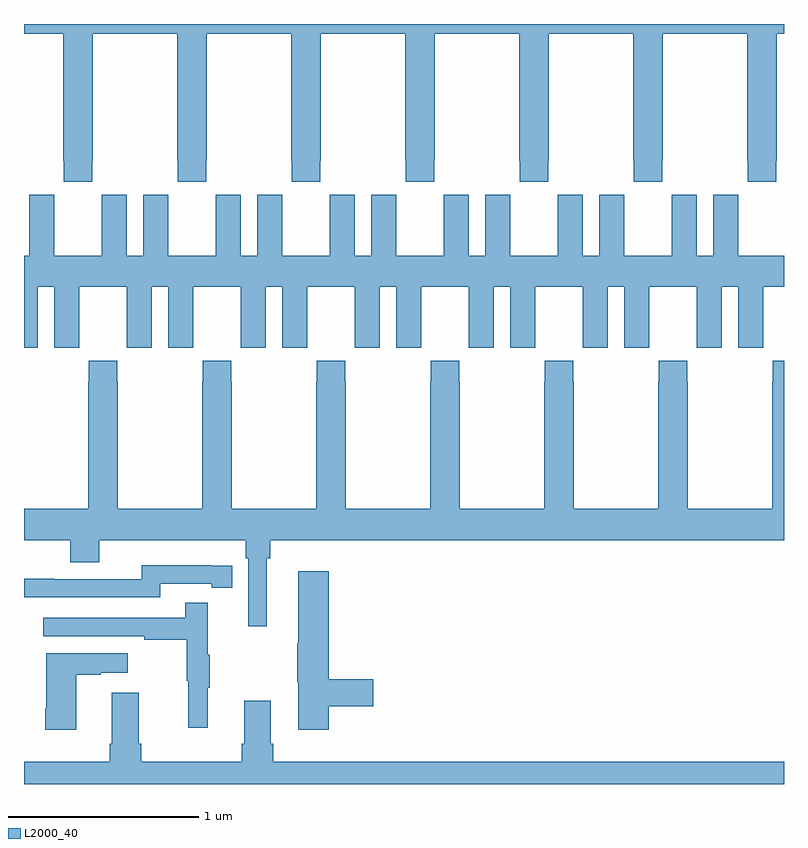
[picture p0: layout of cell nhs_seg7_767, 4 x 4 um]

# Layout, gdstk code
import gdstk
lib = gdstk.Library(unit=1e-6, precision=1e-09)
def P(c, l, *ps):  # polygons
    for p in ps: c.add(gdstk.Polygon(p, *l))
L2000_40 = (2000, 40)

nhs_seg7_767 = lib.new_cell('nhs_seg7_767')
P(nhs_seg7_767, L2000_40, [(169.359,1001.281),(169.362,1001.281),(169.362,1001.948),(169.807,1001.948),(169.807,1001.281),(169.809,1001.281),(169.809,1001.169),(169.959,1001.169),(169.959,1001.281),(169.962,1001.281),(169.962,1001.948),(170.407,1001.948),(170.407,1001.281),(170.409,1001.281),(170.409,1001.169),(170.559,1001.169),(170.559,1001.281),(170.562,1001.281),(170.562,1001.948),(171.007,1001.948),(171.007,1001.281),(171.009,1001.281),(171.009,1001.169),(171.159,1001.169),(171.159,1001.281),(171.162,1001.281),(171.162,1001.948),(171.607,1001.948),(171.607,1001.281),(171.609,1001.281),(171.609,1001.169),(171.759,1001.169),(171.759,1001.281),(171.762,1001.281),(171.762,1001.948),(172.207,1001.948),(172.207,1001.281),(172.209,1001.281),(172.209,1001.169),(172.359,1001.169),(172.359,1001.281),(172.362,1001.281),(172.362,1001.948),(172.807,1001.948),(172.807,1001.281),(172.809,1001.281),(172.809,1001.169),(172.959,1001.169),(172.959,1001.281),(172.962,1001.281),(172.962,1001.948),(173,1001.948),(173,1002),(169,1002),(169,1001.948),(169.207,1001.948),(169.207,1001.281),(169.209,1001.281),(169.209,1001.169),(169.359,1001.169)],
  [(169.759,1000.988),(169.758,1000.988),(169.758,1001.101),(169.628,1001.101),(169.628,1000.78),(169.54,1000.78),(169.54,1001.101),(169.41,1001.101),(169.41,1000.988),(169.409,1000.988),(169.409,1000.78),(169.159,1000.78),(169.159,1000.988),(169.158,1000.988),(169.158,1001.101),(169.028,1001.101),(169.028,1000.78),(169,1000.78),(169,1000.296),(169.072,1000.296),(169.072,1000.616),(169.16,1000.616),(169.16,1000.296),(169.29,1000.296),(169.29,1000.408),(169.291,1000.408),(169.291,1000.616),(169.541,1000.616),(169.541,1000.408),(169.542,1000.408),(169.542,1000.296),(169.672,1000.296),(169.672,1000.616),(169.76,1000.616),(169.76,1000.296),(169.89,1000.296),(169.89,1000.408),(169.891,1000.408),(169.891,1000.616),(170.141,1000.616),(170.141,1000.408),(170.142,1000.408),(170.142,1000.296),(170.272,1000.296),(170.272,1000.616),(170.36,1000.616),(170.36,1000.296),(170.49,1000.296),(170.49,1000.408),(170.491,1000.408),(170.491,1000.616),(170.741,1000.616),(170.741,1000.408),(170.742,1000.408),(170.742,1000.296),(170.872,1000.296),(170.872,1000.616),(170.96,1000.616),(170.96,1000.296),(171.09,1000.296),(171.09,1000.408),(171.091,1000.408),(171.091,1000.616),(171.341,1000.616),(171.341,1000.408),(171.342,1000.408),(171.342,1000.296),(171.472,1000.296),(171.472,1000.616),(171.56,1000.616),(171.56,1000.296),(171.69,1000.296),(171.69,1000.408),(171.691,1000.408),(171.691,1000.616),(171.941,1000.616),(171.941,1000.408),(171.942,1000.408),(171.942,1000.296),(172.072,1000.296),(172.072,1000.616),(172.16,1000.616),(172.16,1000.296),(172.29,1000.296),(172.29,1000.408),(172.291,1000.408),(172.291,1000.616),(172.541,1000.616),(172.541,1000.408),(172.542,1000.408),(172.542,1000.296),(172.672,1000.296),(172.672,1000.616),(172.76,1000.616),(172.76,1000.296),(172.89,1000.296),(172.89,1000.408),(172.891,1000.408),(172.891,1000.616),(173,1000.616),(173,1000.78),(172.759,1000.78),(172.759,1000.988),(172.758,1000.988),(172.758,1001.101),(172.628,1001.101),(172.628,1000.78),(172.54,1000.78),(172.54,1001.101),(172.41,1001.101),(172.41,1000.988),(172.409,1000.988),(172.409,1000.78),(172.159,1000.78),(172.159,1000.988),(172.158,1000.988),(172.158,1001.101),(172.028,1001.101),(172.028,1000.78),(171.94,1000.78),(171.94,1001.101),(171.81,1001.101),(171.81,1000.988),(171.809,1000.988),(171.809,1000.78),(171.559,1000.78),(171.559,1000.988),(171.558,1000.988),(171.558,1001.101),(171.428,1001.101),(171.428,1000.78),(171.34,1000.78),(171.34,1001.101),(171.21,1001.101),(171.21,1000.988),(171.209,1000.988),(171.209,1000.78),(170.959,1000.78),(170.959,1000.988),(170.958,1000.988),(170.958,1001.101),(170.828,1001.101),(170.828,1000.78),(170.74,1000.78),(170.74,1001.101),(170.61,1001.101),(170.61,1000.988),(170.609,1000.988),(170.609,1000.78),(170.359,1000.78),(170.359,1000.988),(170.358,1000.988),(170.358,1001.101),(170.228,1001.101),(170.228,1000.78),(170.14,1000.78),(170.14,1001.101),(170.01,1001.101),(170.01,1000.988),(170.009,1000.988),(170.009,1000.78),(169.759,1000.78)],
  [(170.278,999.188),(170.297,999.188),(170.297,999.284),(173,999.284),(173,1000.228),(172.941,1000.228),(172.941,1000.115),(172.939,1000.115),(172.939,999.448),(172.494,999.448),(172.494,1000.115),(172.491,1000.115),(172.491,1000.228),(172.341,1000.228),(172.341,1000.115),(172.339,1000.115),(172.339,999.448),(171.894,999.448),(171.894,1000.115),(171.891,1000.115),(171.891,1000.228),(171.741,1000.228),(171.741,1000.115),(171.739,1000.115),(171.739,999.448),(171.294,999.448),(171.294,1000.115),(171.291,1000.115),(171.291,1000.228),(171.141,1000.228),(171.141,1000.115),(171.139,1000.115),(171.139,999.448),(170.694,999.448),(170.694,1000.115),(170.691,1000.115),(170.691,1000.228),(170.541,1000.228),(170.541,1000.115),(170.539,1000.115),(170.539,999.448),(170.094,999.448),(170.094,1000.115),(170.091,1000.115),(170.091,1000.228),(169.941,1000.228),(169.941,1000.115),(169.939,1000.115),(169.939,999.448),(169.494,999.448),(169.494,1000.115),(169.491,1000.115),(169.491,1000.228),(169.341,1000.228),(169.341,1000.115),(169.339,1000.115),(169.339,999.448),(169,999.448),(169,999.284),(169.244,999.284),(169.244,999.167),(169.396,999.167),(169.396,999.284),(170.168,999.284),(170.168,999.188),(170.181,999.188),(170.181,998.829),(170.278,998.829)],
  [(169.716,999.054),(169.988,999.054),(169.988,999.034),(170.096,999.034),(170.096,999.15),(169.988,999.15),(169.988,999.151),(169.62,999.151),(169.62,999.078),(169.16,999.078),(169.16,999.08),(169,999.08),(169,998.982),(169.716,998.982)],
  [(170.603,998.41),(170.839,998.41),(170.839,998.552),(170.603,998.552),(170.603,999.121),(170.444,999.121),(170.444,998.741),(170.437,998.741),(170.437,998.535),(170.444,998.535),(170.444,998.286),(170.603,998.286)],
  [(169.967,998.507),(169.978,998.507),(169.978,998.681),(169.967,998.681),(169.967,998.953),(169.849,998.953),(169.849,998.874),(169.101,998.874),(169.101,998.778),(169.633,998.778),(169.633,998.758),(169.857,998.758),(169.857,998.544),(169.864,998.544),(169.864,998.295),(169.967,998.295)],
  [(169.276,998.575),(169.403,998.575),(169.403,998.585),(169.546,998.585),(169.546,998.689),(169.118,998.689),(169.118,998.398),(169.111,998.398),(169.111,998.286),(169.276,998.286)],
  [(173,998.116),(170.312,998.116),(170.312,998.212),(170.299,998.212),(170.299,998.437),(170.159,998.437),(170.159,998.212),(170.147,998.212),(170.147,998.116),(169.616,998.116),(169.616,998.212),(169.603,998.212),(169.603,998.479),(169.463,998.479),(169.463,998.212),(169.451,998.212),(169.451,998.116),(169,998.116),(169,998),(173,998)])

lib.write_gds('nhs_seg7_767.gds')
